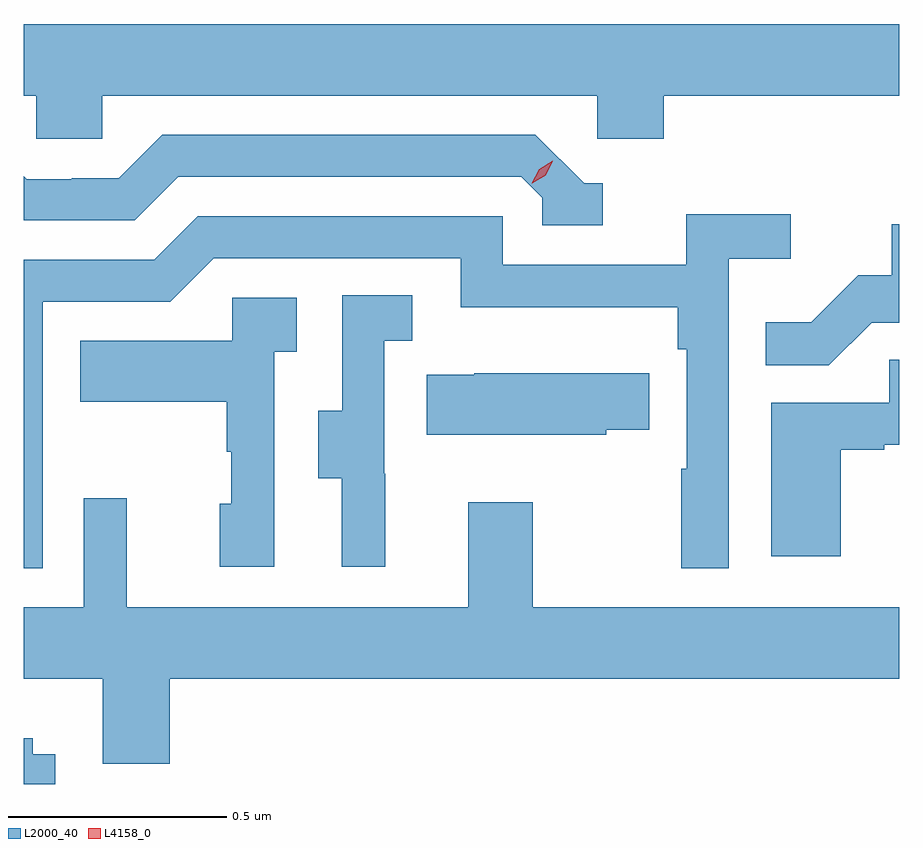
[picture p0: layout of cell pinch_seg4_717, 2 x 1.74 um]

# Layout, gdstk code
import gdstk
lib = gdstk.Library(unit=1e-6, precision=1e-09)
def P(c, l, *ps):  # polygons
    for p in ps: c.add(gdstk.Polygon(p, *l))
L2000_40 = (2000, 40)
L4158_0 = (4158, 0)

pinch_seg4_717 = lib.new_cell('pinch_seg4_717')
P(pinch_seg4_717, L2000_40, [(1109.356,751.532),(1109.385,751.532),(1109.385,751.434),(1109.535,751.434),(1109.535,751.532),(1110.666,751.532),(1110.666,751.434),(1110.818,751.434),(1110.818,751.532),(1111.356,751.532),(1111.356,751.696),(1109.356,751.696)],
  [(1110.679,751.332),(1110.636,751.332),(1110.525,751.443),(1109.672,751.443),(1109.573,751.344),(1109.466,751.344),(1109.466,751.341),(1109.363,751.341),(1109.356,751.348),(1109.356,751.248),(1109.61,751.248),(1109.709,751.347),(1110.492,751.347),(1110.54,751.299),(1110.54,751.236),(1110.679,751.236)],
  [(1109.4,751.062),(1109.691,751.062),(1109.79,751.161),(1110.354,751.161),(1110.354,751.049),(1110.85,751.049),(1110.85,750.953),(1110.87,750.953),(1110.87,750.68),(1110.858,750.68),(1110.858,750.453),(1110.966,750.453),(1110.966,751.16),(1111.108,751.16),(1111.108,751.262),(1110.869,751.262),(1110.869,751.146),(1110.45,751.146),(1110.45,751.257),(1109.753,751.257),(1109.654,751.158),(1109.356,751.158),(1109.356,750.453),(1109.4,750.453)],
  [(1111.293,751.014),(1111.356,751.014),(1111.356,751.239),(1111.339,751.239),(1111.339,751.122),(1111.262,751.122),(1111.155,751.015),(1111.051,751.015),(1111.051,750.916),(1111.195,750.916)],
  [(1110.182,750.669),(1110.18,750.669),(1110.18,750.973),(1110.244,750.973),(1110.244,751.076),(1110.084,751.076),(1110.084,750.813),(1110.029,750.813),(1110.029,750.658),(1110.083,750.658),(1110.083,750.456),(1110.182,750.456)],
  [(1109.928,750.947),(1109.98,750.947),(1109.98,751.071),(1109.832,751.071),(1109.832,750.973),(1109.485,750.973),(1109.485,750.833),(1109.82,750.833),(1109.82,750.719),(1109.83,750.719),(1109.83,750.6),(1109.804,750.6),(1109.804,750.456),(1109.928,750.456)],
  [(1111.222,750.723),(1111.322,750.723),(1111.322,750.735),(1111.356,750.735),(1111.356,750.929),(1111.333,750.929),(1111.333,750.831),(1111.064,750.831),(1111.064,750.48),(1111.222,750.48)],
  [(1110.687,750.769),(1110.785,750.769),(1110.785,750.898),(1110.385,750.898),(1110.385,750.895),(1110.277,750.895),(1110.277,750.758),(1110.687,750.758)],
  [(1109.69,750.2),(1111.356,750.2),(1111.356,750.364),(1110.519,750.364),(1110.519,750.604),(1110.371,750.604),(1110.371,750.364),(1109.591,750.364),(1109.591,750.613),(1109.493,750.613),(1109.493,750.364),(1109.356,750.364),(1109.356,750.2),(1109.537,750.2),(1109.537,750.006),(1109.69,750.006)],
  [(1109.428,750.028),(1109.377,750.028),(1109.377,750.064),(1109.356,750.064),(1109.356,749.96),(1109.428,749.96)])
P(pinch_seg4_717, L4158_0, [(1110.517,751.332),(1110.517,751.332),(1110.534,751.364),(1110.564,751.384),(1110.565,751.384),(1110.565,751.383),(1110.548,751.351),(1110.518,751.332)])

lib.write_gds('pinch_seg4_717.gds')
